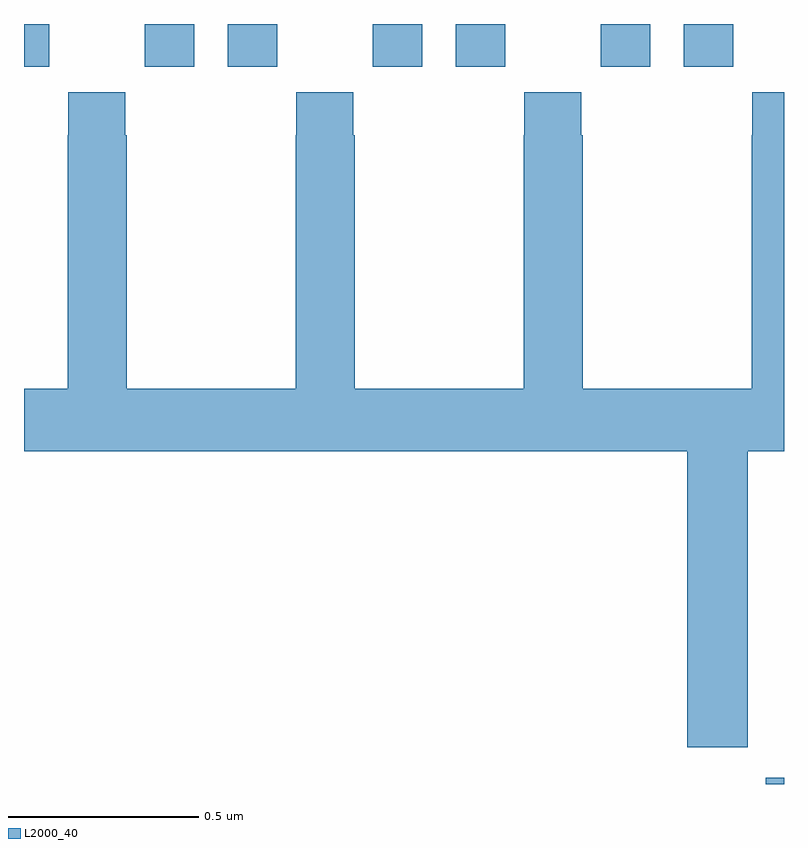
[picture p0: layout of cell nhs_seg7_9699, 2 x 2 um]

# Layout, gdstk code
import gdstk
lib = gdstk.Library(unit=1e-6, precision=1e-09)
def R(c, l, rs):  # rectangles x0, y0, x1, y1
    for r in rs: c.add(gdstk.rectangle(r[:2], r[2:], *l))
def P(c, l, *ps):  # polygons
    for p in ps: c.add(gdstk.Polygon(p, *l))
L2000_40 = (2000, 40)

nhs_seg7_9699 = lib.new_cell('nhs_seg7_9699')
R(nhs_seg7_9699, L2000_40, [(241.952,1073,242,1073.017), (240,1074.888,240.066,1075), (240.318,1074.888,240.448,1075), (240.536,1074.888,240.666,1075), (240.918,1074.888,241.048,1075), (241.136,1074.888,241.266,1075), (241.518,1074.888,241.648,1075), (241.736,1074.888,241.866,1075)])
P(nhs_seg7_9699, L2000_40, [(241.905,1073.876),(242,1073.876),(242,1074.82),(241.917,1074.82),(241.917,1074.707),(241.915,1074.707),(241.915,1074.04),(241.47,1074.04),(241.47,1074.707),(241.467,1074.707),(241.467,1074.82),(241.317,1074.82),(241.317,1074.707),(241.315,1074.707),(241.315,1074.04),(240.87,1074.04),(240.87,1074.707),(240.867,1074.707),(240.867,1074.82),(240.717,1074.82),(240.717,1074.707),(240.715,1074.707),(240.715,1074.04),(240.27,1074.04),(240.27,1074.707),(240.267,1074.707),(240.267,1074.82),(240.117,1074.82),(240.117,1074.707),(240.115,1074.707),(240.115,1074.04),(240,1074.04),(240,1073.876),(241.745,1073.876),(241.745,1073.097),(241.905,1073.097)])

lib.write_gds('nhs_seg7_9699.gds')
